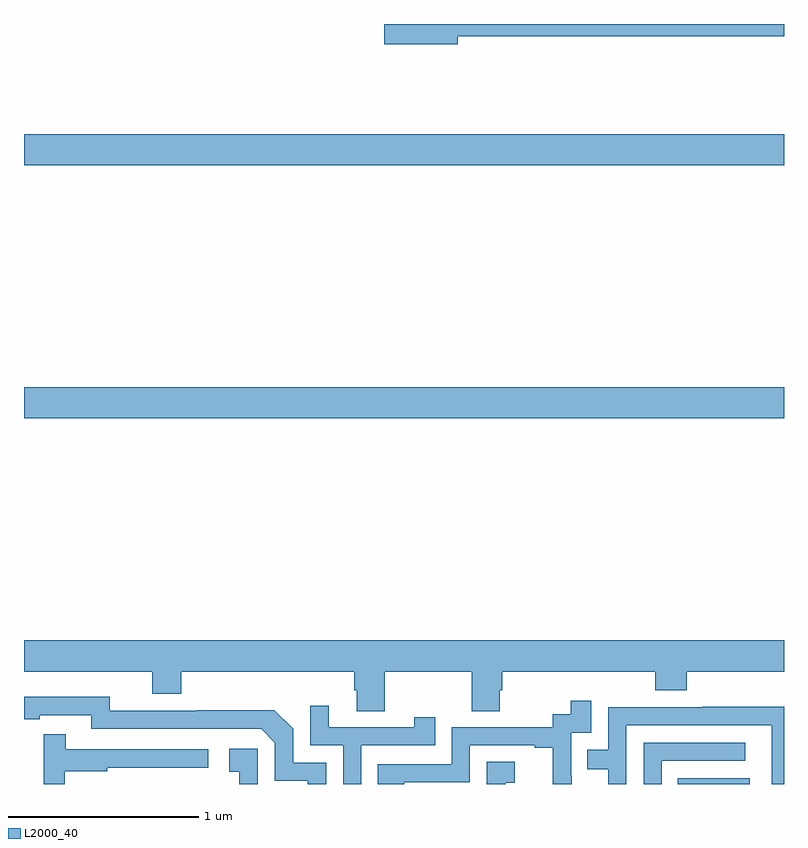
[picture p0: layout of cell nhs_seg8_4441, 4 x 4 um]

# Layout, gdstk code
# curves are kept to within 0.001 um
import gdstk
lib = gdstk.Library(unit=1e-6, precision=1e-09)
def R(c, l, rs):  # rectangles x0, y0, x1, y1
    for r in rs: c.add(gdstk.rectangle(r[:2], r[2:], *l))
def P(c, l, *ps):  # polygons
    for p in ps: c.add(gdstk.Polygon(p, *l))
L2000_40 = (2000, 40)

nhs_seg8_4441 = lib.new_cell('nhs_seg8_4441')
R(nhs_seg8_4441, L2000_40, [(384.442,1123.9,384.82,1123.93), (381,1125.824,385,1125.988), (381,1127.156,385,1127.32)])
P(nhs_seg8_4441, L2000_40, [(383.284,1127.836),(385,1127.836),(385,1127.9),(382.896,1127.9),(382.896,1127.794),(383.284,1127.794)],
  [(382.899,1124.492),(383.356,1124.492),(383.356,1124.284),(383.503,1124.284),(383.503,1124.394),(383.516,1124.394),(383.516,1124.492),(384.323,1124.492),(384.323,1124.393),(384.488,1124.393),(384.488,1124.492),(385,1124.492),(385,1124.656),(381,1124.656),(381,1124.492),(381.674,1124.492),(381.674,1124.375),(381.827,1124.375),(381.827,1124.492),(382.739,1124.492),(382.739,1124.394),(382.751,1124.394),(382.751,1124.284),(382.899,1124.284)],
  [(382.59,1124.013),(382.416,1124.013),(382.416,1124.19),(382.318,1124.288),(381.91,1124.288),(381.91,1124.286),(381.45,1124.286),(381.45,1124.359),(381,1124.358),(381,1124.242),(381.082,1124.242),(381.082,1124.262),(381.354,1124.262),(381.354,1124.19),(382.248,1124.19),(382.32,1124.118),(382.32,1123.917),(382.493,1123.917),(382.493,1123.9),(382.59,1123.9)],
  [(383.001,1123.908),(383.346,1123.908),(383.346,1124.103),(383.687,1124.103),(383.687,1124.091),(383.783,1124.091),(383.783,1123.9),(383.882,1123.9),(383.882,1123.94),(383.88,1123.94),(383.88,1124.169),(383.985,1124.169),(383.985,1124.338),(383.877,1124.338),(383.877,1124.268),(383.784,1124.268),(383.784,1124.199),(383.25,1124.199),(383.25,1124.004),(382.861,1124.004),(382.861,1123.9),(383.001,1123.9)],
  [(382.776,1124.103),(383.165,1124.103),(383.165,1124.251),(383.054,1124.251),(383.054,1124.199),(382.603,1124.199),(382.603,1124.311),(382.506,1124.311),(382.506,1124.103),(382.68,1124.103),(382.68,1123.9),(382.776,1123.9)],
  [(384.171,1124.208),(384.936,1124.208),(384.936,1123.9),(385,1123.9),(385,1124.306),(384.571,1124.306),(384.571,1124.304),(384.075,1124.304),(384.075,1124.079),(383.965,1124.079),(383.965,1123.978),(384.075,1123.978),(384.075,1123.9),(384.171,1123.9)],
  [(381.214,1123.966),(381.437,1123.966),(381.437,1123.986),(381.97,1123.986),(381.97,1124.082),(381.221,1124.082),(381.221,1124.161),(381.104,1124.161),(381.104,1123.9),(381.214,1123.9)],
  [(384.357,1124.022),(384.796,1124.022),(384.796,1124.118),(384.261,1124.118),(384.261,1123.9),(384.357,1123.9)],
  [(382.23,1124.086),(382.08,1124.086),(382.08,1123.965),(382.133,1123.965),(382.133,1123.9),(382.23,1123.9)],
  [(383.535,1123.907),(383.584,1123.907),(383.584,1124.017),(383.436,1124.017),(383.436,1123.9),(383.535,1123.9)])

lib.write_gds('nhs_seg8_4441.gds')
